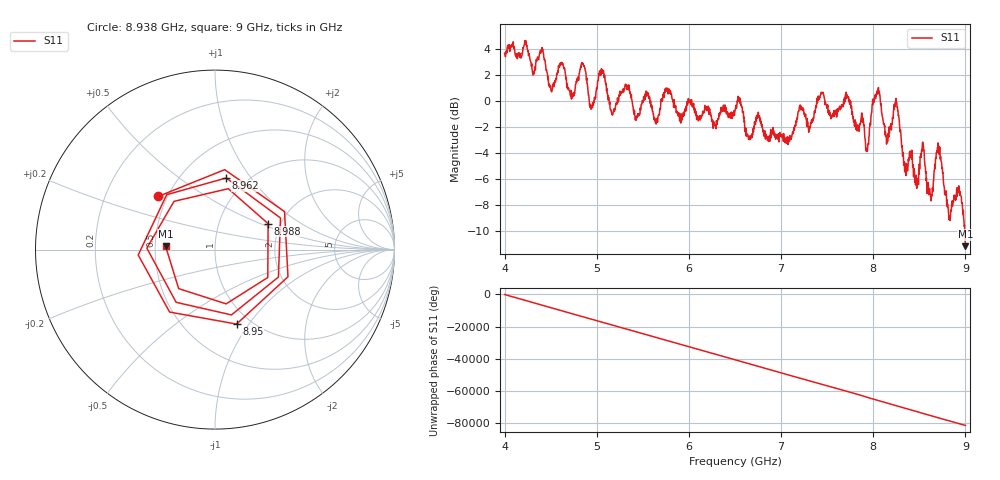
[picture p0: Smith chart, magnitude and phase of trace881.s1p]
! Created with skrf 1.8.0 (http://scikit-rf.org).
# Hz S RI R 50.0
!freq ReS11 ImS11
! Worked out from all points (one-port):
!   1601 points, 4 GHz to 9 GHz, reference 50 ohm
!   lowest |S11| = -11.2 dB at 9 GHz (marker M1), VSWR 1.76, Z = 28.4 + j1.2 ohm
!   |S11| at or under -10 dB: 8.993033 GHz to end of sweep
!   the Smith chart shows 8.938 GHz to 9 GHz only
!   S11 on the Smith chart (normalised r, x): 8.938 GHz: 0.45, +0.33; 8.95 GHz: 0.86, -0.88; 8.962 GHz: 0.81, +0.77; 8.988 GHz: 1.73, +0.56; 9 GHz: 0.57, +0.02
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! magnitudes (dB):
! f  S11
! 4 GHz  3.7
! 4.403 GHz  3.9
! 4.503 GHz  0.8
! 4.625 GHz  2.8
! 4.734 GHz  0.3
! 4.856 GHz  2.8
! 4.944 GHz  -0.4
! 5.047 GHz  2.0
! 5.169 GHz  -1.0
! 5.25 GHz  0.8
! 5.875 GHz  -1.0
! 6.5 GHz  -0.8
! 7.125 GHz  -2.4
! 7.75 GHz  0.1
! 7.931 GHz  -3.6
! 8.041 GHz  0.6
! 8.153 GHz  -2.8
! 8.247 GHz  0.2
! 8.375 GHz  -5.1
! 8.534 GHz  -3.2
! 8.625 GHz  -7.5
! 8.709 GHz  -3.4
! 8.822 GHz  -9.1
! 8.938 GHz  -7.3
! 8.95 GHz  -7.3
! 8.962 GHz  -7.9
! 8.988 GHz  -9.6
! 9 GHz  -11.2
